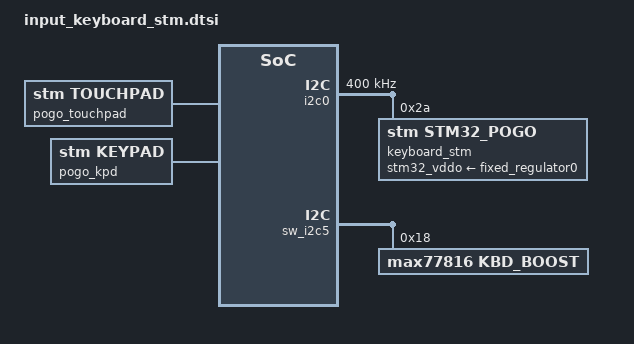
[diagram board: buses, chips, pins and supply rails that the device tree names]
&pio {
	attn_irq: attn_irq {
		GPIO_CONFIG_PUD_DRV(AP,pio,18, FUNC_INPUT_WAKEUP, PULL_NONE, DRV_LV1);
	};
};

&pio {
	conn_irq: conn_irq {
		GPIO_CONFIG_PUD_DRV(AP,pio,15, FUNC_INPUT_WAKEUP, PULL_NONE, DRV_LV1);
	};
};

&pio {
	swclk_gpio: swclk_gpio {
		GPIO_CONFIG_PUD_DRV(AP,pio,153, FUNC_OUTPUT_LOW, PULL_NONE, DRV_LV1);
	};
};

&pio {
	nrst_gpio: nrst_gpio {
		GPIO_CONFIG_PUD_DRV(AP,pio,155, FUNC_OUTPUT_HIGH, PULL_NONE, DRV_LV1);
	};
};

&i2c0 {
	#address-cells = <1>;
	#size-cells = <0>;
	status = "ok";
	clock-frequency = <400000>;
	/* pogo i2c */
	keyboard_stm: stm32@2a {
		status = "ok";
		compatible = "stm,stm32_pogo";
		reg = <0x2a>;
		pinctrl-names = "default";
		pinctrl-0 = <&attn_irq &conn_irq &swclk_gpio &nrst_gpio>;
		stm32_vddo-supply = <&fixed_regulator0>;
		stm32,irq_gpio = <SEC_GPIO_REF(AP,pio,18) 0>;
		stm32,irq_conn = <SEC_GPIO_REF(AP,pio,15) 0>;
		stm32,irq_type = <8200>;
		stm32,irq_conn_type = <0x2003>;
		stm32,mcu_swclk = <SEC_GPIO_REF(AP,pio,153) 0>;
		stm32,mcu_nrst = <SEC_GPIO_REF(AP,pio,155) 0>;
		stm32,sda_gpio = <SEC_GPIO_REF(AP,pio,224) 0>;
		stm32,scl_gpio = <SEC_GPIO_REF(AP,pio,223) 0>;
		stm32,fw_name = "keyboard_stm/stm32_gts7llite.bin";
	};
};


/* /home/dpi/qb5_8814/workspace/P4_1716/android/kernel/kmodule/input/sec_input_2024/keyboard/stm32/dts/input-mtk-keyboard-stm32.gts10u(wifi).dtsi */
&keyboard_stm {
	stm32,fw_name = "keyboard_stm/stm32_gts10family.bin";
	stm32,fota_fw_path = "";
	support_open_close;
	stm32,model_type = <2>; /* 0: basic, 1: plus, 2: ultra */
	stm32,booster_power_voltage = <514000>;
};

&smd {
	pogo_touchpad {
		compatible = "stm,touchpad";
		touchpad,invert = <0 1 1>; /* x invert, y invert, xy switch */
	};

	pogo_kpd {
		compatible = "stm,keypad";
	};
};

#if 1
&sw_i2c5 {
	status = "okay";

	kbd_boost@18{
		status = "okay";
		compatible = "max77816,kbd_boost";
		reg = <0x18>;
	};
};
#endif
